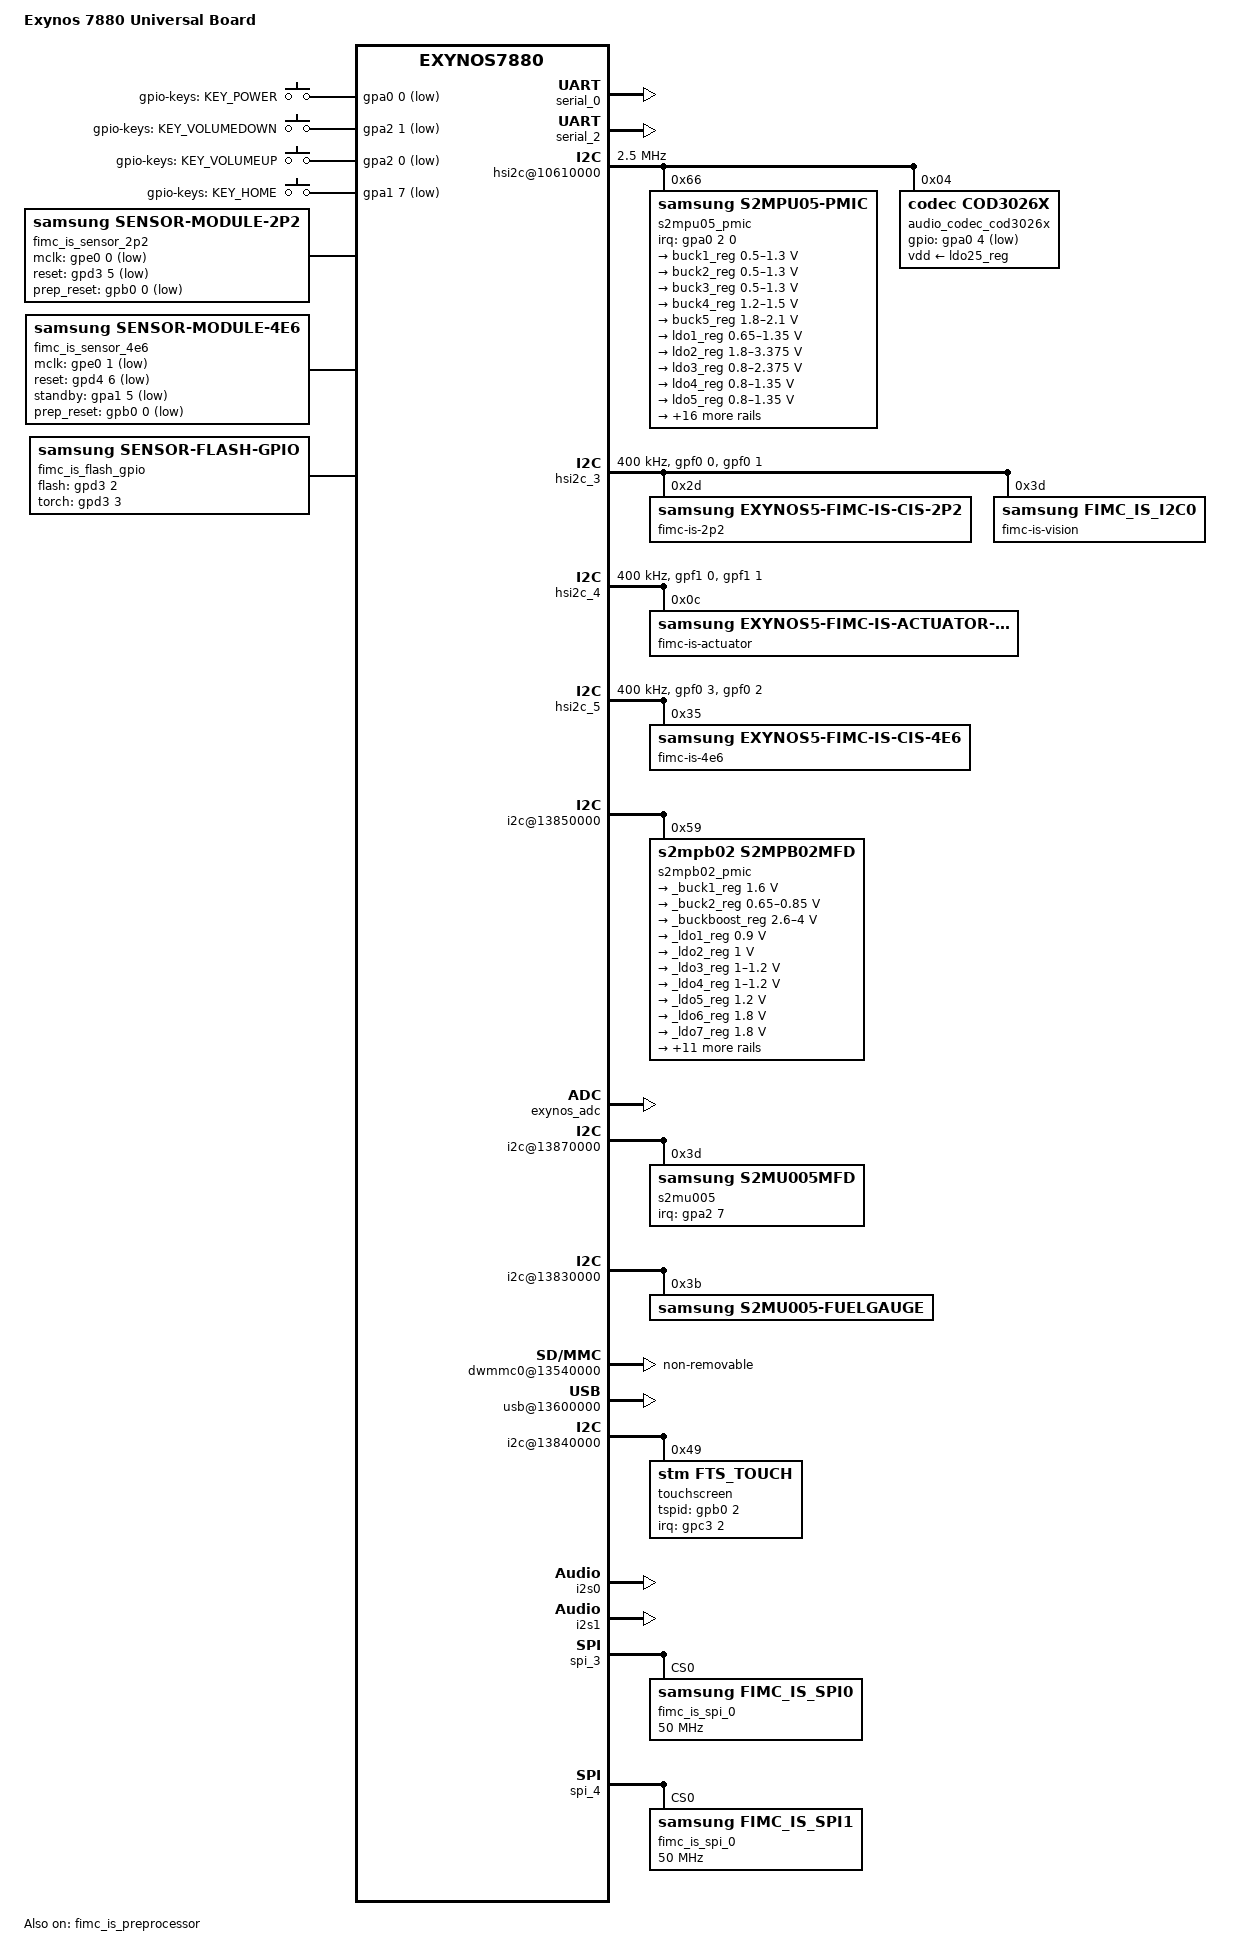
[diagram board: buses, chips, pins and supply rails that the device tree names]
/*
 * SAMSUNG Exynos7880 Universal board device tree source
 *
 * Copyright (c) 2015 Samsung Electronics Co., Ltd.
 *		http://www.samsung.com
 *
 * This program is free software; you can redistribute it and/or modify
 * it under the terms of the GNU General Public License version 2 as
 * published by the Free Software Foundation.
*/

/dts-v1/;
#include "exynos7880-rmem.dtsi"
#include "exynos7880.dtsi"
#include "modem-ss325ap-pdata.dtsi"

/ {
	model = "Exynos 7880 Universal Board";
	compatible = "samsung,exynos7880", "samsung,universal7880";

	memory@40000000 {
		device_type = "memory";
		reg = <0x0 0x40000000 0xC0000000>;
	};

	chosen {
		bootargs = "console=ram,115200 ess_setup=0x46000000 clk_ignore_unused androidboot.hardware=samsungexynos7880 firmware_class.path=/vendor/firmware reserve-fimc=0 androidboot.debug_level=0x4948";
		linux,initrd-start = <0x52000000>;
		linux,initrd-end = <0x521FFFFF>;
	};

	fixed-rate-clocks {
		oscclk {
			compatible = "samsung,exynos7880-oscclk";
			clock-frequency = <26000000>;
		};
	};

	serial_0: uart@13810000 {
		status = "okay";
	};

	serial_2: uart@13820000 {
		status = "okay";
	};

	gpio_keys {
		compatible = "gpio-keys";
		pinctrl-names = "default";
		pinctrl-0 = <&key_power &key_voldown &key_volup &key_home>;
		#address-cells = <1>;
		#size-cells = <0>;

		button@1 {
			label = "gpio-keys: KEY_POWER";
			interrupts = <0 0>;
			interrupt-parent = <&gpa0>;
			linux,code = <116>;
			gpios = <&gpa0 0 0xf>;
			gpio-key,wakeup = <1>;
		};
		button@2 {
			label = "gpio-keys: KEY_VOLUMEDOWN";
			interrupts = <1 0>;
			interrupt-parent = <&gpa2>;
			linux,code = <114>;
			gpios = <&gpa2 1 0xf>;
		};
		button@3 {
			label = "gpio-keys: KEY_VOLUMEUP";
			interrupts = <0 0>;
			interrupt-parent = <&gpa2>;
			linux,code = <115>;
			gpios = <&gpa2 0 0xf>;
		};
		button@4 {
			label = "gpio-keys: KEY_HOME";
			interrupts = <7 0 0>;
			interrupt-parent = <&gpa1>;
			linux,code = <172>;
			gpios = <&gpa1 7 0xf>;
			gpio-key,wakeup = <1>;
		};
	};

	pinctrl@139B0000 {
		/* Warm reset information from AP */
		pm_wrsti: pm-wrsti {
			samsung,pins = "gpd1-0";
			samsung,pin-con-pdn = <3>;
		};
	};

	pinctrl@139F0000 {
		pmic_irq: pmic-irq {
			samsung,pins = "gpa0-2";
			samsung,pin-pud = <3>;
			samsung,pin-drv = <3>;
		};

		cod3026_irq: cod3026-irq {
			samsung,pins = "gpa0-4";
			samsung,pin-pud = <3>;
			samsung,pin-drv = <3>;
		};
	};

	pinctrl@139B0000{
		sub_pmic_irq: sub-pmic-irq {
			samsung,pins = "gpd4-0";
			samsung,pin-function = <0xf>;
			samsung,pin-pud = <0>;
			samsung,pin-drv = <0>;
		};
	};


	hsi2c@10610000 {
		status = "okay";
		samsung,hs-mode;
		clock-frequency = <2500000>;
		samsung,hsi2c-batcher;

		s2mpu05_pmic@66 {
			compatible = "samsung,s2mpu05-pmic";
			reg = <0x66>;
			ten-bit-address;
			interrupts = <2 0 0>;
			interrupt-parent = <&gpa0>;
			pinctrl-names = "default";
			pinctrl-0 = <&pmic_irq &pm_wrsti>;
			g3d_en = <1>; /* 1 : enable , 0 : disable */
			buck3en_pin = "etc1-3";
			buck3en_addr = "139B0080.pinctrl";
			/* RTC: wtsr/smpl */
			wtsr_en = <1>; /* enable */
			smpl_en = <1>; /* enable */
			wtsr_timer_val = <3>;   /* 1000ms */
			smpl_timer_val = <4>;   /* 500ms */
			check_jigon = <0>; /* do not check jigon */
			/* RTC: If it's first boot, reset rtc to 1/1/2016 12:00:00(Fri) */
			init_time,sec = <0>;
			init_time,min = <0>;
			init_time,hour = <12>;
			init_time,mday = <1>;
			init_time,mon = <0>;
			init_time,year = <116>;
			init_time,wday = <5>;

			regulators {
				buck1_reg: BUCK1 {
					regulator-name = "BUCK1";
					regulator-min-microvolt = <500000>;
					regulator-max-microvolt = <1300000>;
					regulator-always-on;
					regulator-boot-on;
					regulator-ramp-delay = <12000>;
					regulator-initial-mode = <1>;
					regulator-expected-consumer = <2>;
				};

				buck2_reg: BUCK2 {
					regulator-name = "BUCK2";
					regulator-min-microvolt = <500000>;
					regulator-max-microvolt = <1300000>;
					regulator-always-on;
					regulator-boot-on;
					regulator-ramp-delay = <12000>;
					regulator-initial-mode = <3>;
					regulator-expected-consumer = <4>;
				};

				buck3_reg: BUCK3 {
					regulator-name = "vdd_g3d";
					regulator-min-microvolt = <500000>;
					regulator-max-microvolt = <1300000>;
					regulator-always-on;
					regulator-boot-on;
					regulator-ramp-delay = <12000>;
					regulator-initial-mode = <2>;		/* MIF_G3D */
				};

				buck4_reg: BUCK4 {
					regulator-name = "BUCK4";
					regulator-min-microvolt = <1200000>;
					regulator-max-microvolt = <1500000>;
					regulator-always-on;
					regulator-boot-on;
					regulator-ramp-delay = <12000>;
					regulator-initial-mode = <3>;
				};

				buck5_reg: BUCK5 {
					regulator-name = "BUCK5";
					regulator-min-microvolt = <1800000>;
					regulator-max-microvolt = <2100000>;
					regulator-always-on;
					regulator-boot-on;
					regulator-ramp-delay = <12000>;
					regulator-initial-mode = <3>;
				};

				ldo1_reg: LDO1 {
					regulator-name = "vdd_ldo1";
					regulator-min-microvolt = <650000>;
					regulator-max-microvolt = <1350000>;
					regulator-always-on;
					regulator-boot-on;
					regulator-ramp-delay = <12000>;
					regulator-initial-mode = <3>;
				};

				ldo2_reg: LDO2 {
					regulator-name = "vqmmc";
					regulator-min-microvolt = <1800000>;
					regulator-max-microvolt = <3375000>;
					regulator-boot-on;
					regulator-always-on;
					regulator-ramp-delay = <12000>;
					regulator-initial-mode = <1>;
				};

				ldo3_reg: LDO3 {
					regulator-name = "vdd_ldo3";
					regulator-min-microvolt = <800000>;
					regulator-max-microvolt = <2375000>;
					regulator-boot-on;
					regulator-always-on;
					regulator-ramp-delay = <12000>;
					regulator-initial-mode = <3>;
				};

				ldo4_reg: LDO4 {
					regulator-name = "vdd_ldo4";
					regulator-min-microvolt = <800000>;
					regulator-max-microvolt = <1350000>;
					regulator-boot-on;
					regulator-always-on;
					regulator-ramp-delay = <12000>;
					regulator-initial-mode = <2>;
				};

				ldo5_reg: LDO5 {
					regulator-name = "vdd_ldo5";
					regulator-min-microvolt = <800000>;
					regulator-max-microvolt = <1350000>;
					regulator-boot-on;
					regulator-always-on;
					regulator-ramp-delay = <12000>;
					regulator-initial-mode = <3>;
				};

				ldo6_reg: LDO6 {
					regulator-name = "vdd_ldo6";
					regulator-min-microvolt = <800000>;
					regulator-max-microvolt = <1350000>;
					regulator-boot-on;
					regulator-always-on;
					regulator-ramp-delay = <12000>;
					regulator-initial-mode = <2>;
				};

				ldo7_reg: LDO7 {
					regulator-name = "vdd_ldo7";
					regulator-min-microvolt = <800000>;
					regulator-max-microvolt = <2375000>;
					regulator-boot-on;
					regulator-always-on;
					regulator-ramp-delay = <12000>;
					regulator-initial-mode = <1>;
				};

				ldo8_reg: LDO8 {
					regulator-name = "vdd_ldo8";
					regulator-min-microvolt = <1800000>;
					regulator-max-microvolt = <3375000>;
					regulator-boot-on;
					regulator-ramp-delay = <12000>;
					regulator-initial-mode = <0>;
				};

				ldo9_reg: LDO9 {
					regulator-name = "vdd_ldo9";
					regulator-min-microvolt = <650000>;
					regulator-max-microvolt = <1350000>;
					regulator-always-on;
					regulator-ramp-delay = <12000>;
					regulator-initial-mode = <3>;
				};

				ldo10_reg: LDO10 {
					regulator-name = "vdd_ldo10";
					regulator-min-microvolt = <650000>;
					regulator-max-microvolt = <1350000>;
					regulator-always-on;
					regulator-ramp-delay = <12000>;
					regulator-initial-mode = <1>;
				};

				ldo25_reg: LDO25 {
					regulator-name = "vdd_ldo25";
					regulator-min-microvolt = <800000>;
					regulator-max-microvolt = <2375000>;
					regulator-always-on;
					regulator-boot-on;
					regulator-ramp-delay = <12000>;
					regulator-initial-mode = <1>;
				};

				ldo26_reg: LDO26 {
					regulator-name = "vdd_ldo26";
					regulator-min-microvolt = <1800000>;
					regulator-max-microvolt = <3375000>;
					regulator-ramp-delay = <12000>;
					regulator-always-on;
					regulator-initial-mode = <1>;
				};

				ldo27_reg: LDO27 {
					regulator-name = "vdd_ldo27";
					regulator-min-microvolt = <800000>;
					regulator-max-microvolt = <2375000>;
					regulator-ramp-delay = <12000>;
					regulator-always-on;
					regulator-initial-mode = <1>;
				};

				ldo28_reg: LDO28 {
					regulator-name = "vmmc";
					regulator-min-microvolt = <1800000>;
					regulator-max-microvolt = <3375000>;
					regulator-always-on;
					regulator-ramp-delay = <12000>;
					regulator-initial-mode = <1>;
				};

				ldo29_reg: LDO29 {
					regulator-name = "vdd_ldo29";
					regulator-min-microvolt = <1800000>;
					regulator-max-microvolt = <3375000>;
					regulator-always-on;
					regulator-ramp-delay = <12000>;
					regulator-initial-mode = <1>;
				};

				ldo30_reg: LDO30 {
					regulator-name = "tsp_io";
					regulator-min-microvolt = <1800000>;
					regulator-max-microvolt = <2375000>;
					regulator-boot-on;
					regulator-always-on;
					regulator-ramp-delay = <12000>;
					regulator-initial-mode = <3>;
				};

				ldo31_reg: LDO31 {
					regulator-name = "vdd_ldo31";
					regulator-min-microvolt = <2800000>;
					regulator-max-microvolt = <2800000>;
					regulator-boot-on;
					regulator-always-on;
					regulator-ramp-delay = <12000>;
					regulator-initial-mode = <1>;
				};

				ldo32_reg: LDO32 {
					regulator-name = "vdd_ldo32";
					regulator-min-microvolt = <1800000>;
					regulator-max-microvolt = <3375000>;
					regulator-always-on;
					regulator-ramp-delay = <12000>;
					regulator-initial-mode = <1>;
				};

				ldo33_reg: LDO33 {
					regulator-name = "vdd_ldo33";
					regulator-min-microvolt = <1800000>;
					regulator-max-microvolt = <3375000>;
					regulator-ramp-delay = <12000>;
					regulator-initial-mode = <1>;
				};

				ldo34_reg: LDO34 {
					regulator-name = "vdd_ldo34";
					regulator-min-microvolt = <1800000>;
					regulator-max-microvolt = <3375000>;
					regulator-always-on;
					regulator-ramp-delay = <12000>;
					regulator-initial-mode = <1>;
				};

				ldo35_reg: LDO35 {
					regulator-name = "vdd_ldo35";
					regulator-min-microvolt = <1800000>;
					regulator-max-microvolt = <3375000>;
					regulator-always-on;
					regulator-ramp-delay = <12000>;
					regulator-initial-mode = <1>;
				};
			};
		};

		audio_codec_cod3026x: cod3026x@04 {
			compatible = "codec,cod3026x";
			reg = <0x04>;
			ten-bit-address;
			vdd-supply = <&ldo25_reg>;
			pinctrl-names = "default";
			pinctrl-0 = <&cod3026_irq>;
			interrupt-parent = <&gpa0>;
			gpios = <&gpa0 4 0xf>;
			use-digital-mic-mode;
			mic-bias1-voltage = <3>;
			mic-bias2-voltage = <3>;
			mic-bias-ldo-voltage = <3>;
		};
	};

	hsi2c_3: hsi2c@138A0000 {
		 gpios = <&gpf0 0 0 &gpf0 1 0>;
		 status = "okay";
		 clock-frequency = <400000>;

		 pinctrl-names = "default";
		 pinctrl-0 = <&hs_i2c3_bus>;

		 fimc-is-2p2@5A {
			 compatible = "samsung,exynos5-fimc-is-cis-2p2";
			 reg = <0x2D>;
			 id = <0>; /* matching sensor id */
			 setfile = "setB";
		 };

		 fimc-is-vision@3d {
			compatible = "samsung,fimc_is_i2c0";
			reg = <0x3d>;
		 };
	 };

	hsi2c_4: hsi2c@138B0000 {
		 gpios = <&gpf1 0 0 &gpf1 1 0>;
		 status = "okay";
		 clock-frequency = <400000>;

		 pinctrl-names = "default";
		 pinctrl-0 = <&hs_i2c4_bus>;

		fimc-is-actuator@18 {
			compatible = "samsung,exynos5-fimc-is-actuator-ak7371";
			reg = <0x0C>;
			id = <0>; /* matching sensor id */
		};
	};

	hsi2c_5: hsi2c@138C0000 {
		 gpios = <&gpf0 3 0 &gpf0 2 0>;
		 status = "okay";
		 clock-frequency = <400000>;

		 pinctrl-names = "default";
		 pinctrl-0 = <&hs_i2c5_bus>;

		 fimc-is-4e6@6A {
			 compatible = "samsung,exynos5-fimc-is-cis-4e6";
			 reg = <0x35>;
			 id = <0>; /* matching sensor id */
			 setfile = "setB";
		 };
	 };

	i2c@13850000 {
		status = "okay";
		s2mpb02_pmic@59 {
			compatible = "s2mpb02,s2mpb02mfd";
			reg = <0x59>;

			s2mpb02,wakeup;
			pinctrl-names = "default";
			pinctrl-0 = <&sub_pmic_irq>;

			regulators {
				_buck1_reg: s2mpb02-buck1 {
					regulator-min-microvolt = <1600000>;
					regulator-max-microvolt = <1600000>;
					regulator-always-on;
					regulator-boot-on;
				};

				_buck2_reg: s2mpb02-buck2 {
					regulator-name = "VDDD_CORE_0.8V_COMP";
					regulator-min-microvolt = <650000>;
					regulator-max-microvolt = <850000>;
				};

				_buckboost_reg: s2mpb02-bb {
					regulator-min-microvolt = <2600000>;
					regulator-max-microvolt = <4000000>;
					regulator-always-on;
					regulator-boot-on;
				};

				_ldo1_reg: s2mpb02-ldo1 {
					regulator-name = "VDDD_NORET_0.9V_COMP";
					regulator-min-microvolt = <900000>;
					regulator-max-microvolt = <900000>;
				};

				_ldo2_reg: s2mpb02-ldo2 {
					regulator-name = "VDDD_CORE_1.0V_COMP";
					regulator-min-microvolt = <1000000>;
					regulator-max-microvolt = <1000000>;
				};

				_ldo3_reg: s2mpb02-ldo3 {
					regulator-name = "VDDD_1.2V_CAM";
					regulator-min-microvolt = <1000000>;
					regulator-max-microvolt = <1200000>;
				};

				_ldo4_reg: s2mpb02-ldo4 {
					regulator-name = "VDDD_RET_1.0V_COMP";
					regulator-min-microvolt = <1000000>;
					regulator-max-microvolt = <1200000>;
				};

				_ldo5_reg: s2mpb02-ldo5 {
					regulator-name = "VDDD_1.2V_VT";
					regulator-min-microvolt = <1200000>;
					regulator-max-microvolt = <1200000>;
				};

				_ldo6_reg: s2mpb02-ldo6 {
					regulator-name = "VDDIO_1.8V_VT";
					regulator-min-microvolt = <1800000>;
					regulator-max-microvolt = <1800000>;
				};

				_ldo7_reg: s2mpb02-ldo7 {
					regulator-name = "VDDIO_1.8V_CAM";
					regulator-min-microvolt = <1800000>;
					regulator-max-microvolt = <1800000>;
				};

				_ldo8_reg: s2mpb02-ldo8 {
					regulator-name = "VDDIO_1.8V_COMP";
					regulator-min-microvolt = <1800000>;
					regulator-max-microvolt = <1800000>;
				};

				_ldo9_reg: s2mpb02-ldo9 {
					regulator-name = "VDDA_1.8V_COMP";
					regulator-min-microvolt = <1800000>;
					regulator-max-microvolt = <1800000>;
				};

				_ldo10_reg: s2mpb02-ldo10 {
					regulator-min-microvolt = <1800000>;
					regulator-max-microvolt = <1800000>;
					regulator-always-on;
					regulator-boot-on;
				};

				_ldo11_reg: s2mpb02-ldo11 {
					regulator-name = "VDDA_2.9V_CAM";
					regulator-min-microvolt = <2800000>;
					regulator-max-microvolt = <2950000>;
				};

				_ldo12_reg: s2mpb02-ldo12 {
					regulator-name = "VDDAF_2.8V_CAM";
					regulator-min-microvolt = <2800000>;
					regulator-max-microvolt = <2800000>;
				};

				_ldo13_reg: s2mpb02-ldo13 {
					regulator-name = "VDDA_2.9V_VT";
					regulator-min-microvolt = <2900000>;
					regulator-max-microvolt = <2900000>;
				};

				_ldo14_reg: s2mpb02-ldo14 {
					regulator-name = "OIS_VM_2.8V";
					regulator-min-microvolt = <2800000>;
					regulator-max-microvolt = <2800000>;
				};

				_ldo15_reg: s2mpb02-ldo15 {
					regulator-name = "OIS_VDD_2.8V";
					regulator-min-microvolt = <2800000>;
					regulator-max-microvolt = <2800000>;
				};

				_ldo16_reg: s2mpb02-ldo16 {
					regulator-min-microvolt = <3000000>;
					regulator-max-microvolt = <3000000>;
					regulator-always-on;
					regulator-boot-on;
				};

				_ldo17_reg: s2mpb02-ldo17 {
					regulator-min-microvolt = <600000>;
					regulator-max-microvolt = <3775000>;
					regulator-always-on;
					regulator-boot-on;
				};

				_ldo18_reg: s2mpb02-ldo18 {
					regulator-min-microvolt = <600000>;
					regulator-max-microvolt = <3775000>;
					regulator-always-on;
					regulator-boot-on;
				};
			};

			torch {
				torch1-gpio = "gpc0-3";
				flash1-gpio = "gpc0-2";

				status = "okay";

				leds1 {
					ledname = "leds-sec1";
					id = <0>;
					brightness = <0xC>;
					timeout = <0x3>;
				};

				leds2 {
					ledname = "torch-sec1";
					id = <1>;
					brightness = <0xC>;
					timeout = <0xF>;
				};
			};
		};
	};

	pinctrl@139B0000 {
		if_pmic_rstb: if-pmic-rstb {
			samsung,pins = "gpd2-1";
			samsung,pin-pud = <3>;
			samsung,pin-con-pdn = <3>;
			samsung,pin-pud-pdn = <3>;
		};
	};

	exynos_adc: adc@10650000 {
		status = "okay";
	};

	i2c@13870000 {
		status = "okay";
		s2mu005@3d {
			compatible = "samsung,s2mu005mfd";
			reg = <0x3d>;
			pinctrl-names = "default";
			pinctrl-0 = <&if_irq &if_pmic_rstb>;
			s2mu005,irq-gpio = <&gpa2 7 0>;
			s2mu005,wakeup;

			leds {
				flash-gpio = <&gpc0 2 0>;
				torch-gpio = <&gpc0 3 0>;

				flash_current = <1000>;
				preflash_current = <175>;
				movie_current = <175>;
				torch_current = <75>;
				factory_current = <250>;

				status = "okay";
				s2mu005-leds1 {
					ledname = "leds-sec1";
					id = <0>;
					timeout = <15>;
				};

				s2mu005-leds2 {
					ledname = "leds-sec2";
					id = <1>;
					timeout = <15>;
				};
			};

			muic {
				status = "okay";
				muic,uart_addr = "139c0000.pinctrl";
				muic,uart_rxd = "gpb1-0";
				muic,uart_txd = "gpb1-1";
			};
		};
	};

	s2mu005-charger {
		status = "disable";
		compatible = "samsung,s2mu005-charger";
		battery,is_1MHz_switching = <1>;
		battery,is_fixed_switching = <1>;
		battery,chg_gpio_en = <0>;
		battery,chg_polarity_en = <0>;
		battery,chg_gpio_status = <0>;
		battery,chg_polarity_status = <0>;
		battery,chg_float_voltage = <4390>;
	};

	s2mu005-fuelgauge@35 {
		fuelgauge,fuel_alert_soc = <1>;
		fuelgauge,capacity_max = <1000>;
		fuelgauge,capacity_max_margin = <30>;
		fuelgauge,capacity_min = <0>;
		fuelgauge,capacity_calculation_type = <28>;
		fuelgauge,repeated_fuelalert;
		fuelgauge,type_str = "SDI";
	};

	i2c@13830000 {
		status = "okay";
		s2mu005-fuelgauge@3B {
			compatible = "samsung,s2mu005-fuelgauge";
			reg = <0x3B>;
			pinctrl-names = "default";
			pinctrl-0 = <&fuel_irq>;
			fuelgauge,fuel_int = <&gpa0 3 0>;
			fuelgauge,fuel_alert_soc = <1>;
			fuelgauge,capacity_max = <1000>;
			fuelgauge,capacity_max_margin = <70>;
			fuelgauge,capacity_min = <0>;
			fuelgauge,capacity_calculation_type = <28>;
			fuelgauge,type_str = "SDI";
			fuelgauge,model_type = <1>;
		};
	};

	battery {
		battery,charger_name = "sec-charger";
		battery,fuelgauge_name = "sec-fuelgauge";
		battery,chg_eoc_dualpath = <1>;

		battery,input_current_limit = <1800 0 0 1800 460 900 1000 460 1000 0 820 1900 1000 0 0 400 700 1300 300 1000 1500 0 1667 1000 80 1800>;
		battery,fast_charging_current = <2100 0 0 1300 460 1200 1000 460 1200 0 1000 1600 1000 0 0 400 700 1300 300 1000 1500 0 3150 1000 80 1800>;
		battery,full_check_current_1st = <180 0 0 180 180 250 250 250 250 0 250 250 250 0 0 350 350 350 350 350 350 0 350 350 0 350>;
		battery,full_check_current_2nd = <3000 0 0 3000 3000 3000 3000 3000 3000 0 3000 3000 0 0 0 3000 3000 3000 3000 3000 3000 0 3000 3000 3000 3000>;
		battery,input_current_limit_new = <1800 0 0 1500 460 900 1000 460 1000 0 820 1900 1000 0 0 400 700 1300 300 1000 1500 0 1667 1000 80 1800>;
		battery,fast_charging_current_new = <2100 0 0 1700 460 1200 1000 460 1200 0 1000 1600 1000 0 0 400 700 1300 300 1000 1500 0 3150 1000 80 1800>;
		battery,recharge_condition_vcell = <4250>;
	};

	pinctrl@139F0000 {
		key_power: key-power {
			samsung,pins = "gpa0-0";
			samsung,pin-function = <0xf>;
			samsung,pin-pud = <0>;
			samsung,pin-drv = <0>;
		};

		key_voldown: key-voldown {
			samsung,pins = "gpa2-1";
			samsung,pin-function = <0xf>;
			samsung,pin-pud = <0>;
			samsung,pin-drv = <0>;
		};

		key_volup: key-volup {
			samsung,pins = "gpa2-0";
			samsung,pin-function = <0xf>;
			samsung,pin-pud = <0>;
			samsung,pin-drv = <0>;
		};

		key_home: key-home {
			samsung,pins = "gpa1-7";
			samsung,pin-function = <0xf>;
			samsung,pin-pud = <0>;
			samsung,pin-drv = <0>;
		};

		if_irq: if-irq {
			samsung,pins = "gpa2-7";
			samsung,pin-pud = <0>;
			samsung,pin-drv = <0>;
		};

		fuel_irq: fuel-irq {
			samsung,pins = "gpa0-3";
			samsung,pin-pud = <0>;
			samsung,pin-drv = <0>;
		};
	};

	dwmmc0@13540000 {
		status = "okay";
		num-slots = <1>;
		broken-cd;
		use-smu;
		fixed_voltage;
		supports-highspeed;
		/*clock-gate;*/
		mmc-ddr-1_8v;
		mmc-hs200-1_8v;
		mmc-hs400-1_8v;
		supports-8bit;
		supports-cmd23;
		supports-erase;
		enable-ulp-mode;
		supports-hs400-enhanced-strobe;
		use-fine-tuning;
		bypass-for-allpass;
		card-init-hwacg-ctrl;
		fifo-depth = <0x40>;
		non-removable;
		desc-size = <4>;
		card-detect-delay = <200>;
		data-timeout = <200>;
		clock-frequency = <800000000>;
		samsung,dw-mshc-ciu-div = <3>;
		samsung,dw-mshc-txdt-crc-timer-fastlimit = <0x34>;
		samsung,dw-mshc-txdt-crc-timer-initval = <0x38>;
		samsung,dw-mshc-ddr200-delay-line = <0x50>;
		samsung,dw-mshc-sdr-timing = <3 0 4 0>;
		samsung,dw-mshc-ddr-timing = <3 0 4 2>;
		samsung,dw-mshc-hs200-timing = <3 0 3 0>;
		samsung,dw-mshc-ddr200-timing = <1 0 2 0>;
		samsung,dw-mshc-ddr200-ulp-timing = <3 0 4 0>;
		num-ref-clks = <10>;
		ciu_clkin = <25 50 50 100 200 100 50 200 200 200>;

		/* Swapping clock drive strength */
                clk-drive-number = <6>;
                pinctrl-names = "default",
                        "fast-slew-rate-1x",
                        "fast-slew-rate-2x",
                        "fast-slew-rate-3x",
                        "fast-slew-rate-4x",
                        "fast-slew-rate-5x",
                        "fast-slew-rate-6x";
                pinctrl-0 = <&sd0_clk &sd0_cmd &sd0_rdqs &sd0_bus1 &sd0_bus4 &sd0_bus8>;
                pinctrl-1 = <&sd0_clk_fast_slew_rate_1x>;
                pinctrl-2 = <&sd0_clk_fast_slew_rate_2x>;
                pinctrl-3 = <&sd0_clk_fast_slew_rate_3x>;
                pinctrl-4 = <&sd0_clk_fast_slew_rate_4x>;
                pinctrl-5 = <&sd0_clk_fast_slew_rate_5x>;
                pinctrl-6 = <&sd0_clk_fast_slew_rate_6x>;

		slot@0 {
			reg = <0>;
			bus-width = <8>;
		};
	};

	decon_f@0x14830000 {
		gpios = <&gpd2 2 0xf>; /* DISP_TE */
		te_eint {
			/* NWEINT_GPD2_PEND(GPD2_2), NWEINT_GPD2_MASK(GPD2_2) */
			reg = <0x0 0x139B0A24 0x4>, <0x0 0x139B0924 0x4>;
		};
	};

	dsim_0: dsim@0x14800000 {
		lcd_info = <&s6e3ha2>;
		/* lcd reset, power */
		gpios = <&gpd3 4 0x1>, <&gpb0 1 0x1>;
	};

	dsim_1: dsim@0x14810000 {
		lcd_info = <&s6e3ha2>;
	};

	s6e3ha2: s6e3ha2_wqhd {
		mode = <2>;	/* 2: MIPI command mode */
		resolution = <720 2560>;
		size = <70 121>;
		timing,refresh = <60>;
		timing,h-porch = <2 2 2>;
		timing,v-porch = <15 3 1>;
		timing,dsi-hs-clk = <1100>;
		timing,pms = <3 127 0>;
		timing,dsi-escape-clk = <20>;
		mic_en = <0>;		/* 0: Disable, 1: Enable */
		mic_ratio = <0>;	/* 0: 1/2 mic, 1: 1/3 mic */
		mic_ver = <2>;		/* 0: mic v1.1, 1: v1.2, 2: v2.0 */
		type_of_ddi = <0>;	/* 0: Samsung Mobile */
		dsc_en = <0>;		/* 0: Disable, 1: Enable */
		dsc_cnt = <1>;		/* used DSC count */
		dsc_slice_num = <2>;	/* count of dsc slice */
	};

	tmuctrl_0: tmuctrl_CPUCL0@10130000 {
		status = "okay";
		max_trigger_level = <8>;
		non_hw_trigger_levels = <7>;

		/* Throttling Level */
		trigger_levels_0 = <76>;
		trigger_levels_1 = <81>;
		trigger_levels_2 = <86>;
		trigger_levels_3 = <91>;
		trigger_levels_4 = <96>;
		trigger_levels_5 = <101>;
		trigger_levels_6 = <111>;
		trigger_levels_7 = <115>;

		trigger_enable_0 = <ENABLE>;
		trigger_enable_1 = <ENABLE>;
		trigger_enable_2 = <ENABLE>;
		trigger_enable_3 = <ENABLE>;
		trigger_enable_4 = <ENABLE>;
		trigger_enable_5 = <ENABLE>;
		trigger_enable_6 = <ENABLE>;
		trigger_enable_7 = <ENABLE>;

		trigger_type_0 = <THROTTLE_ACTIVE>;
		trigger_type_1 = <THROTTLE_ACTIVE>;
		trigger_type_2 = <THROTTLE_ACTIVE>;
		trigger_type_3 = <THROTTLE_ACTIVE>;
		trigger_type_4 = <THROTTLE_ACTIVE>;
		trigger_type_5 = <THROTTLE_ACTIVE>;
		trigger_type_6 = <THROTTLE_ACTIVE>;
		trigger_type_7 = <HW_TRIP>;

		freq_tab_count = <5>;

		freq_clip_max_0 = <1586000>;
		freq_clip_max_1 = <1274000>;
		freq_clip_max_2 = <1274000>;
		freq_clip_max_3 = <546000>;
		freq_clip_max_4 = <546000>;

		cooling_level_0 = <76>;
		cooling_level_1 = <81>;
		cooling_level_2 = <86>;
		cooling_level_3 = <91>;
		cooling_level_4 = <96>;
	};

	tmuctrl_1: tmuctrl_CPUCL1@10130000 {
		status = "okay";
		max_trigger_level = <8>;
		non_hw_trigger_levels = <7>;

		/* Throttling Level */
		trigger_levels_0 = <76>;
		trigger_levels_1 = <81>;
		trigger_levels_2 = <86>;
		trigger_levels_3 = <91>;
		trigger_levels_4 = <96>;
		trigger_levels_5 = <101>;
		trigger_levels_6 = <111>;
		trigger_levels_7 = <115>;

		trigger_enable_0 = <ENABLE>;
		trigger_enable_1 = <ENABLE>;
		trigger_enable_2 = <ENABLE>;
		trigger_enable_3 = <ENABLE>;
		trigger_enable_4 = <ENABLE>;
		trigger_enable_5 = <ENABLE>;
		trigger_enable_6 = <ENABLE>;
		trigger_enable_7 = <ENABLE>;

		trigger_type_0 = <THROTTLE_ACTIVE>;
		trigger_type_1 = <THROTTLE_ACTIVE>;
		trigger_type_2 = <THROTTLE_ACTIVE>;
		trigger_type_3 = <THROTTLE_ACTIVE>;
		trigger_type_4 = <THROTTLE_ACTIVE>;
		trigger_type_5 = <THROTTLE_ACTIVE>;
		trigger_type_6 = <THROTTLE_ACTIVE>;
		trigger_type_7 = <HW_TRIP>;

		freq_tab_count = <5>;

		freq_clip_max_0 = <1586000>;
		freq_clip_max_1 = <1274000>;
		freq_clip_max_2 = <1274000>;
		freq_clip_max_3 = <546000>;
		freq_clip_max_4 = <546000>;

		cooling_level_0 = <76>;
		cooling_level_1 = <81>;
		cooling_level_2 = <86>;
		cooling_level_3 = <91>;
		cooling_level_4 = <96>;
	};

	tmuctrl_2: tmuctrl_G3D@10130000 {
		status = "okay";
		max_trigger_level = <8>;
		non_hw_trigger_levels = <7>;

		/* Throttling Level */
		trigger_levels_0 = <76>;
		trigger_levels_1 = <81>;
		trigger_levels_2 = <86>;
		trigger_levels_3 = <91>;
		trigger_levels_4 = <96>;
		trigger_levels_5 = <101>;
		trigger_levels_6 = <111>;
		trigger_levels_7 = <115>;

		trigger_enable_0 = <ENABLE>;
		trigger_enable_1 = <ENABLE>;
		trigger_enable_2 = <ENABLE>;
		trigger_enable_3 = <ENABLE>;
		trigger_enable_4 = <ENABLE>;
		trigger_enable_5 = <ENABLE>;
		trigger_enable_6 = <ENABLE>;
		trigger_enable_7 = <ENABLE>;

		trigger_type_0 = <THROTTLE_ACTIVE>;
		trigger_type_1 = <THROTTLE_ACTIVE>;
		trigger_type_2 = <THROTTLE_ACTIVE>;
		trigger_type_3 = <THROTTLE_ACTIVE>;
		trigger_type_4 = <THROTTLE_ACTIVE>;
		trigger_type_5 = <THROTTLE_ACTIVE>;
		trigger_type_6 = <THROTTLE_ACTIVE>;
		trigger_type_7 = <HW_TRIP>;

		freq_tab_count = <6>;

		freq_clip_max_0 = <1246000>;
		freq_clip_max_1 = <1100000>;
		freq_clip_max_2 = <962000>;
		freq_clip_max_3 = <728000>;
		freq_clip_max_4 = <350000>;
		freq_clip_max_5 = <350000>;

		cooling_level_0 = <76>;
		cooling_level_1 = <81>;
		cooling_level_2 = <86>;
		cooling_level_3 = <91>;
		cooling_level_4 = <96>;
		cooling_level_5 = <101>;

		/* gpu cooling related table */
		gpu_idx_num = <6>;
		/* flags, driver_data(index), frequency */
		gpu_cooling_table = < 0 0 1246000
				      0 1 1100000
				      0 2 962000
				      0 3 728000
				      0 4 350000
				      0 5 TABLE_END>;
	};

	usb@13600000 {
		vdd33-supply = <&ldo8_reg>;
		vdd10-supply = <&ldo1_reg>;
		dwc3-vbus-supply = <&ldo3_reg>;
		status = "okay";

		dwc3 {
			maximum-speed = "high-speed";
			dr_mode = "otg";
			is_not_vbus_pad;
		};
	};

	usbphy@135c0000 {
		status = "okay";
	};

	usb_notifier {
		compatible = "samsung,usb-notifier";
		udc = <&udc>;
	};

	pinctrl@139B0000 {
		tsp_1p8_en: tsp-1p8-en {
			samsung,pins = "gpb0-2";
			samsung,pin-function = <0x1>;
			samsung,pin-pud = <3>;
			samsung,pin-drv = <0>;
			samsung,pin-val = <1>;
		};

		fimc_is_flash_is: fimc-is-flash-is {
			samsung,pins = "gpd3-2", "gpd3-3";
			samsung,pin-function = <2>;
			samsung,pin-pud = <1>;
			samsung,pin-drv = <0>;
		};
	};

	pinctrl@139D0000 {
		attn_irq: attn-irq {
			samsung,pins = "gpc3-2";
			samsung,pin-function = <0xf>;
			samsung,pin-pud = <0>;
			samsung,pin-drv = <0>;
		};
		attn_input: attn-input {
			samsung,pins = "gpc3-2";
			samsung,pin-function = <0>;
			samsung,pin-pud = <1>;
			samsung,pin-drv = <0>;
		};
	};

	i2c@13840000 {
		status = "okay";
		samsung,i2c-max-bus-freq = <400000>;
		touchscreen@49 {
			
			compatible = "stm,fts_touch";
			reg = <0x49>;
			pinctrl-names = "on_state", "off_state";
			pinctrl-0 = <&attn_irq &tsp_1p8_en>;
			pinctrl-1 = <&attn_input>;
			stm,tspid_gpio = <&gpb0 2 0>;
			stm,irq_gpio = <&gpc3 2 0>;
			stm,irq_type = <8200>;
			stm,max_coords = <1439 2559>;	/* x y */
			stm,regulator_dvdd = "vdd_ldo32";
			stm,regulator_avdd = "vdd_ldo34";
			stm,project_name = "joon", "smdk7880";
			stm,firmware_name = "tsp_stm/stm_v5583.fw";
		};
	};

	pinctrl@139C0000 {
		nfc_en: gpio-en {
			samsung,pins = "gpc2-2";
			samsung,pin-function = <0x1>;
			samsung,pin-pud = <0>;
			samsung,pin-drv = <0>;
			samsung,pin-con-pdn = <3>;
			samsung,pin-val = <1>;
		};
	};

	/* modem_interface */
	mif_pdata {
		reg = <0 0x67FFF000 0x1000>, <0 0x10000 0x14>;
		/* Set NFC_PD to enable USIM */
		pinctrl-names = "default";
		pinctrl-0 = <&nfc_en>;
	};

	s1402x: s1402x@14880000 {
		pinctrl-names = "default", "idle", "bt-idle";
		pinctrl-0 = <&i2s_pmic_bus
				&i2s_amp_bus>;
		pinctrl-1 = <&i2s_pmic_bus_idle
				&i2s_amp_bus_idle> ;
		pinctrl-2 = <&i2s_pmic_bus
                                &i2s_amp_bus>;
		bck-mcko-mode;
		status = "okay";
	};

	i2s0: i2s@148A0000 {
		status = "okay";
	};

	i2s1: i2s@148B0000 {
		status = "okay";
	};

	audio_cp_dummy: cp_dummy {
			compatible = "samsung,cp_dummy";
			status = "okay";
	};

	audio_fm_dummy: fm_dummy {
			compatible = "samsung,fm_dummy";
			status = "okay";
	};

	audio_bt_dummy: bt_dummy {
			compatible = "samsung,bt_dummy";
			status = "okay";
	};

	audio_codec_dummy: dummy-codec {
			compatible = "samsung,dummy-codec";
			status = "okay";
	};

	sound {
		compatible = "samsung,universal7880-cod3026x";
		samsung,audio-cpu = <&i2s0	/* primary */
			&i2s0			 /* secondary */
			&audio_cp_dummy
			&audio_bt_dummy
			&audio_fm_dummy
			&i2s1			/*AMP for AP */
			&audio_cp_dummy>;	/*AMP for CP */
		samsung,audio-codec = <&audio_codec_cod3026x
			&audio_codec_cod3026x
			&audio_codec_cod3026x
			&audio_codec_dummy
			&audio_codec_cod3026x
			&audio_codec_dummy
			&audio_codec_dummy>;

		samsung,auxdev = <&s1402x>;
		status = "okay";
	};

	spi_3: spi@13900000 {
		#address-cells = <1>;
		#size-cells = <0>;
		pinctrl-names = "default";
		pinctrl-0 = <&spi3_bus>;
		samsung,spi-fifosize = <64>;
		status = "okay";

		num-cs = <1>;

		fimc_is_spi_0@0 {
			compatible = "samsung,fimc_is_spi0";
			spi-max-frequency = <50000000>;
			reg = <0x0>;
			pinctrl-names = "ssn_out", "ssn_fn";
			pinctrl-0 = <&spi3_cs_0>;
			pinctrl-1 = <&spi3_cs_0_fn>;

			controller-data {
				cs-gpio = <&gpf3 1 0>;
				samsung,spi-feedback-delay = <1>;
			};
		};
	};

	spi_4: spi@13910000 {
		#address-cells = <1>;
		#size-cells = <0>;
		pinctrl-names = "default";
		pinctrl-0 = <&spi4_bus>;
		samsung,spi-fifosize = <64>;
		status = "okay";

		num-cs = <1>;

		fimc_is_spi_0@0 {
			compatible = "samsung,fimc_is_spi1";
			spi-max-frequency = <50000000>;
			reg = <0x0>;
			pinctrl-names = "ssn_out", "ssn_fn";
			pinctrl-0 = <&spi4_cs_0>;
			pinctrl-1 = <&spi4_cs_0_fn>;

			controller-data {
				cs-gpio = <&gpf4 1 0>;
				samsung,spi-feedback-delay = <1>;
			};
		};
	};

	/* preprocessor driver */
	fimc_is_preprocessor: fimc_is_preprocessor@14420000 {
		compatible = "samsung,exynos5-fimc-is-preprocessor";
		samsung,power-domain = <&pd_isp>;

		clock-names = "hsi2c_frontcam",
			"hsi2c_maincam",
			"hsi2c_depthcam",
			"hsi2c_frontsensor",
			"hsi2c_rearaf",
			"hsi2c_rearsensor",

			"spi_rearfrom",
			"spi_frontfrom",

			"sclk_spi_frontfrom",
			"sclk_spi_rearfrom",

			"isp_sensor0_sclk",
			"isp_sensor1_sclk",
			"isp_sensor2_sclk";

		clocks = <&clock 130>,
		       <&clock 131>,
		       <&clock 132>,
		       <&clock 133>,
		       <&clock 134>,
		       <&clock 135>,

		       <&clock 193>,
		       <&clock 194>,

		       <&clock 630>,
		       <&clock 631>,

		       <&clock 640>,
		       <&clock 641>,
		       <&clock 642>;

		scenario = <0>;	/* Normal, Vision, OIS etc */
		id = <0>; /* bns_id */
		mclk_ch = <2>;
		pinctrl_name = "139B0000.pinctrl";
		int_pin_name = "gpa1-2";
		status = "okay";
	};

	fimc_is_device_companion0@ {
		compatible = "samsung,exynos5-fimc-is-device-companion0";
		id = <0>;
		position = <0>;
	};

	fimc_is_device_companion1@ {
		compatible = "samsung,exynos5-fimc-is-device-companion1";
		id = <0>;
		position = <1>;
	};

	fimc_is_sensor_2p2: fimc-is_sensor_2p2@5A {
		compatible = "samsung,sensor-module-2p2";

		pinctrl-names = "pin0", "pin1", "pin2";
		pinctrl-0 = <>;
		pinctrl-1 = <&fimc_is_flash_is &fimc_is_mclk0_in &fimc_is_mclk2_in>;
		pinctrl-2 = <&fimc_is_flash_is &fimc_is_mclk0_fn &fimc_is_mclk2_fn>;

		position = <0>;	/* rear:0. front:1 */
		id = <0>; /* bns_id */
		mclk_ch = <0>;
		sensor_i2c_ch = <0>; /* i2c 0 */
		sensor_i2c_addr = <0x5A>;

		gpio_mclk = <&gpe0 0 0x1>;
		gpio_reset = <&gpd3 5 0x1>; /* sensor reset */
		gpio_prep_reset = <&gpb0 0 0x1>; /* preprocessor reset */
		status = "okay";

		af {
			product_name = <12>; /* ak7348 */
			i2c_addr = <0x18>;
			i2c_ch = <1>; /* i2c 2 */
		};

		flash {
			product_name = <11>; /* FLASH_GPIO */
			flash_first_gpio = <2>; /* DICO not use first, second gpio value */
			flash_second_gpio = <3>;
		};

		preprocessor {
			product_name = <2>; /* 73c2 */
			spi_channel = <1>;
			i2c_addr = <0x7a>;
			i2c_ch = <0>; /* i2c 0*/
			dma_ch = <2>; /* dma vc2*/
		};
	};

	fimc_is_sensor_4e6: fimc-is_sensor_4e6@6A {
		compatible = "samsung,sensor-module-4e6";

		pinctrl-names = "pin0", "pin1", "pin2";
		pinctrl-0 = <>;
		pinctrl-1 = <&fimc_is_mclk1_in &fimc_is_mclk2_in>;
		pinctrl-2 = <&fimc_is_mclk1_fn &fimc_is_mclk2_fn>;

		position = <1>;	/* Rear:0. Front:1 */
		id = <0>; /* sensor node id */
		mclk_ch = <1>;
		sensor_i2c_ch = <1>;
		sensor_i2c_addr = <0x6A>;

		gpio_mclk = <&gpe0 1 0x1>;
		gpio_reset = <&gpd4 6 0x1>;
		gpio_standby = <&gpa1 5 0x1>;
		gpio_prep_reset = <&gpb0 0 0x1>; /* preprocessor reset */
		status = "okay";

		preprocessor {
			product_name = <2>; /* 73c2 */
			spi_channel = <1>;
			i2c_addr = <0x7a>;
			i2c_ch = <0>; /* i2c 0*/
			dma_ch = <2>; /* dma vc2*/
		};


	};

	dsim_0: dsim@0x14800000 {
		/* lcd reset, power */
		gpios = <&gpd3 4 0x1>, <&gpb0 1 0x1>;
	};
	tmuctrl_2: tmuctrl_G3D@10130000 {
		/* flags, driver_data(index), frequency */
		gpu_cooling_table = < 0 0 1246000
				      0 1 1100000
				      0 2 962000
				      0 3 728000
				      0 4 350000
				      0 5 TABLE_END>;
	};				  
	fimc_is_flash_gpio: fimc-is-flash_gpio@0 {
		compatible = "samsung,sensor-flash-gpio";
		id = <0>; /* matching sensor id */
		status = "okay";

		flash-gpio = <&gpd3 2 0>;
		torch-gpio = <&gpd3 3 0>;
	};

	#define SENSOR_SCENARIO_NORMAL		0
	#define SENSOR_SCENARIO_VISION		1
	#define SENSOR_SCENARIO_EXTERNAL	2
	#define SENSOR_SCENARIO_OIS_FACTORY	3
	#define SENSOR_SCENARIO_VIRTUAL		9
	#define FLITE_ID_NOTHING 100

	fimc_is_sensor0: fimc_is_sensor@14420000 {
		scenario = <SENSOR_SCENARIO_NORMAL>;	/* Normal, Vision, OIS etc */
		id = <0>;
		csi_ch = <0>;
		flite_ch = <0>;
		is_bns = <1>;
		status = "okay";
	};

	fimc_is_sensor1: fimc_is_sensor@14460000 {
		scenario = <SENSOR_SCENARIO_NORMAL>;	/* Normal, Vision, OIS etc */
		id = <1>;
		csi_ch = <1>;
		flite_ch = <0>;
		is_bns = <1>;
		status = "okay";
	};

	fimc_is@14370000 {
		vender {
			rear_sensor_id = <10>;
			front_sensor_id = <21>;
			use_module_check;
			check_sensor_vendor;
			skip_cal_loading;
		};

		fimc_is_dvfs {
			#define DVFS_INT_L0 534000
			#define DVFS_INT_L1 400000
			#define DVFS_INT_L2 267000
			#define DVFS_INT_L3 134000

			#define DVFS_CAM_L0 534000
			#define DVFS_CAM_L1 534000
			#define DVFS_CAM_L2 400000
			#define DVFS_CAM_L3 267000
			#define DVFS_CAM_L4 222000

			#define DVFS_MIF_L0 1794000
			#define DVFS_MIF_L1 1716000
			#define DVFS_MIF_L2 1539000
			#define DVFS_MIF_L3 1352000
			#define DVFS_MIF_L4 1144000
			#define DVFS_MIF_L5 1014000
			#define DVFS_MIF_L6 845000
			#define DVFS_MIF_L7 676000
			#define DVFS_MIF_L8 546000
			#define DVFS_MIF_L9 421000
			#define DVFS_MIF_L10 286000

			table0 {
				desc = "default Max version";

				default_int = <0>;
				default_cam = <DVFS_CAM_L0>;
				default_mif = <DVFS_MIF_L0>;
				default_i2c = <0>;

				front_preview_int = <0>;
				front_preview_cam = <DVFS_CAM_L1>;
				front_preview_mif = <DVFS_MIF_L6>;
				front_preview_i2c = <0>;

				front_capture_int = <0>;
				front_capture_cam = <DVFS_CAM_L1>;
				front_capture_mif = <DVFS_MIF_L2>;
				front_capture_i2c = <0>;

				front_video_int = <0>;
				front_video_cam = <DVFS_CAM_L1>;
				front_video_mif = <DVFS_MIF_L6>;
				front_video_i2c = <0>;

				front_video_whd_int = <0>;
				front_video_whd_cam = <DVFS_CAM_L1>;
				front_video_whd_mif = <DVFS_MIF_L6>;
				front_video_whd_i2c = <0>;

				front_video_capture_int = <0>;
				front_video_capture_cam = <DVFS_CAM_L1>;
				front_video_capture_mif = <DVFS_MIF_L6>;
				front_video_capture_i2c = <0>;

				front_video_whd_capture_int = <0>;
				front_video_whd_capture_cam = <DVFS_CAM_L1>;
				front_video_whd_capture_mif = <DVFS_MIF_L6>;
				front_video_whd_capture_i2c = <0>;

				front_vt1_int = <0>;
				front_vt1_cam = <DVFS_CAM_L1>;
				front_vt1_mif = <DVFS_MIF_L6>;
				front_vt1_i2c = <0>;

				front_vt2_int = <0>;
				front_vt2_cam = <DVFS_CAM_L1>;
				front_vt2_mif = <DVFS_MIF_L6>;
				front_vt2_i2c = <0>;

				front_companion_preview_int = <0>;
				front_companion_preview_cam = <DVFS_CAM_L0>;
				front_companion_preview_mif = <DVFS_MIF_L0>;
				front_companion_preview_i2c = <0>;

				front_companion_capture_int = <0>;
				front_companion_capture_cam = <DVFS_CAM_L0>;
				front_companion_capture_mif = <DVFS_MIF_L0>;
				front_companion_capture_i2c = <0>;

				front_companion_video_int = <0>;
				front_companion_video_cam = <DVFS_CAM_L0>;
				front_companion_video_mif = <DVFS_MIF_L0>;
				front_companion_video_i2c = <0>;

				front_companion_video_whd_int = <0>;
				front_companion_video_whd_cam = <DVFS_CAM_L0>;
				front_companion_video_whd_mif = <DVFS_MIF_L0>;
				front_companion_video_whd_i2c = <0>;

				front_companion_video_capture_int = <0>;
				front_companion_video_capture_cam = <DVFS_CAM_L0>;
				front_companion_video_capture_mif = <DVFS_MIF_L0>;
				front_companion_video_capture_i2c = <0>;

				front_companion_video_whd_capture_int = <0>;
				front_companion_video_whd_capture_cam = <DVFS_CAM_L0>;
				front_companion_video_whd_capture_mif = <DVFS_MIF_L0>;
				front_companion_video_whd_capture_i2c = <0>;

				rear_preview_fhd_int = <0>;
				rear_preview_fhd_cam = <DVFS_CAM_L1>;
				rear_preview_fhd_mif = <DVFS_MIF_L6>;
				rear_preview_fhd_i2c = <0>;

				rear_preview_whd_int = <0>;
				rear_preview_whd_cam = <DVFS_CAM_L1>;
				rear_preview_whd_mif = <DVFS_MIF_L6>;
				rear_preview_whd_i2c = <0>;

				rear_preview_uhd_int = <0>;
				rear_preview_uhd_cam = <DVFS_CAM_L1>;
				rear_preview_uhd_mif = <DVFS_MIF_L3>;
				rear_preview_uhd_i2c = <0>;

				rear_capture_int = <0>;
				rear_capture_cam = <DVFS_CAM_L1>;
				rear_capture_mif = <DVFS_MIF_L2>;
				rear_capture_i2c = <0>;

				rear_video_fhd_int = <0>;
				rear_video_fhd_cam = <DVFS_CAM_L1>;
				rear_video_fhd_mif = <DVFS_MIF_L6>;
				rear_video_fhd_i2c = <0>;

				rear_video_uhd_int = <0>;
				rear_video_uhd_cam = <DVFS_CAM_L1>;
				rear_video_uhd_mif = <DVFS_MIF_L3>;
				rear_video_uhd_i2c = <0>;

				rear_video_fhd_capture_int = <0>;
				rear_video_fhd_capture_cam = <DVFS_CAM_L1>;
				rear_video_fhd_capture_mif = <DVFS_MIF_L6>;
				rear_video_fhd_capture_i2c = <0>;

				rear_video_uhd_capture_int = <0>;
				rear_video_uhd_capture_cam = <DVFS_CAM_L1>;
				rear_video_uhd_capture_mif = <DVFS_MIF_L3>;
				rear_video_uhd_capture_i2c = <0>;

				dual_preview_int = <0>;
				dual_preview_cam = <DVFS_CAM_L0>;
				dual_preview_mif = <DVFS_MIF_L0>;
				dual_preview_i2c = <0>;

				dual_capture_int = <0>;
				dual_capture_cam = <DVFS_CAM_L0>;
				dual_capture_mif = <DVFS_MIF_L0>;
				dual_capture_i2c = <0>;

				dual_video_int = <0>;
				dual_video_cam = <DVFS_CAM_L0>;
				dual_video_mif = <DVFS_MIF_L0>;
				dual_video_i2c = <0>;

				dual_video_capture_int = <0>;
				dual_video_capture_cam = <DVFS_CAM_L0>;
				dual_video_capture_mif = <DVFS_MIF_L0>;
				dual_video_capture_i2c = <0>;

				preview_high_speed_fps_int = <0>;
				preview_high_speed_fps_cam = <DVFS_CAM_L0>;
				preview_high_speed_fps_mif = <DVFS_MIF_L0>;
				preview_high_speed_fps_i2c = <0>;

				video_high_speed_60fps_int = <0>;
				video_high_speed_60fps_cam = <DVFS_CAM_L1>;
				video_high_speed_60fps_mif = <DVFS_MIF_L5>;
				video_high_speed_60fps_i2c = <0>;

				video_high_speed_120fps_int = <0>;
				video_high_speed_120fps_cam = <DVFS_CAM_L1>;
				video_high_speed_120fps_mif = <DVFS_MIF_L5>;
				video_high_speed_120fps_i2c = <0>;

				video_high_speed_240fps_int = <0>;
				video_high_speed_240fps_cam = <DVFS_CAM_L0>;
				video_high_speed_240fps_mif = <DVFS_MIF_L0>;
				video_high_speed_240fps_i2c = <0>;

				max_int = <0>;
				max_cam = <DVFS_CAM_L0>;
				max_mif = <DVFS_MIF_L0>;
				max_i2c = <0>;
			};

			table1 {
				desc = "HAL3 version";

				default_int = <0>;
				default_cam = <DVFS_CAM_L0>;
				default_mif = <DVFS_MIF_L0>;
				default_i2c = <0>;

				front_preview_int = <0>;
				front_preview_cam = <DVFS_CAM_L1>;
				front_preview_mif = <DVFS_MIF_L2>;
				front_preview_i2c = <0>;

				front_capture_int = <0>;
				front_capture_cam = <DVFS_CAM_L1>;
				front_capture_mif = <DVFS_MIF_L0>;
				front_capture_i2c = <0>;

				front_video_int = <0>;
				front_video_cam = <DVFS_CAM_L1>;
				front_video_mif = <DVFS_MIF_L2>;
				front_video_i2c = <0>;

				front_video_whd_int = <0>;
				front_video_whd_cam = <DVFS_CAM_L1>;
				front_video_whd_mif = <DVFS_MIF_L2>;
				front_video_whd_i2c = <0>;

				front_video_capture_int = <0>;
				front_video_capture_cam = <DVFS_CAM_L1>;
				front_video_capture_mif = <DVFS_MIF_L2>;
				front_video_capture_i2c = <0>;

				front_video_whd_capture_int = <0>;
				front_video_whd_capture_cam = <DVFS_CAM_L1>;
				front_video_whd_capture_mif = <DVFS_MIF_L2>;
				front_video_whd_capture_i2c = <0>;

				front_vt1_int = <0>;
				front_vt1_cam = <DVFS_CAM_L1>;
				front_vt1_mif = <DVFS_MIF_L2>;
				front_vt1_i2c = <0>;

				front_vt2_int = <0>;
				front_vt2_cam = <DVFS_CAM_L1>;
				front_vt2_mif = <DVFS_MIF_L2>;
				front_vt2_i2c = <0>;

				front_companion_preview_int = <0>;
				front_companion_preview_cam = <DVFS_CAM_L0>;
				front_companion_preview_mif = <DVFS_MIF_L0>;
				front_companion_preview_i2c = <0>;

				front_companion_capture_int = <0>;
				front_companion_capture_cam = <DVFS_CAM_L0>;
				front_companion_capture_mif = <DVFS_MIF_L0>;
				front_companion_capture_i2c = <0>;

				front_companion_video_int = <0>;
				front_companion_video_cam = <DVFS_CAM_L0>;
				front_companion_video_mif = <DVFS_MIF_L0>;
				front_companion_video_i2c = <0>;

				front_companion_video_whd_int = <0>;
				front_companion_video_whd_cam = <DVFS_CAM_L0>;
				front_companion_video_whd_mif = <DVFS_MIF_L0>;
				front_companion_video_whd_i2c = <0>;

				front_companion_video_capture_int = <0>;
				front_companion_video_capture_cam = <DVFS_CAM_L0>;
				front_companion_video_capture_mif = <DVFS_MIF_L0>;
				front_companion_video_capture_i2c = <0>;

				front_companion_video_whd_capture_int = <0>;
				front_companion_video_whd_capture_cam = <DVFS_CAM_L0>;
				front_companion_video_whd_capture_mif = <DVFS_MIF_L0>;
				front_companion_video_whd_capture_i2c = <0>;

				rear_preview_fhd_int = <0>;
				rear_preview_fhd_cam = <DVFS_CAM_L1>;
				rear_preview_fhd_mif = <DVFS_MIF_L2>;
				rear_preview_fhd_i2c = <0>;

				rear_preview_whd_int = <0>;
				rear_preview_whd_cam = <DVFS_CAM_L1>;
				rear_preview_whd_mif = <DVFS_MIF_L2>;
				rear_preview_whd_i2c = <0>;

				rear_preview_uhd_int = <0>;
				rear_preview_uhd_cam = <DVFS_CAM_L1>;
				rear_preview_uhd_mif = <DVFS_MIF_L2>;
				rear_preview_uhd_i2c = <0>;

				rear_capture_int = <0>;
				rear_capture_cam = <DVFS_CAM_L1>;
				rear_capture_mif = <DVFS_MIF_L0>;
				rear_capture_i2c = <0>;

				rear_video_fhd_int = <0>;
				rear_video_fhd_cam = <DVFS_CAM_L1>;
				rear_video_fhd_mif = <DVFS_MIF_L2>;
				rear_video_fhd_i2c = <0>;

				rear_video_uhd_int = <0>;
				rear_video_uhd_cam = <DVFS_CAM_L1>;
				rear_video_uhd_mif = <DVFS_MIF_L2>;
				rear_video_uhd_i2c = <0>;

				rear_video_fhd_capture_int = <0>;
				rear_video_fhd_capture_cam = <DVFS_CAM_L1>;
				rear_video_fhd_capture_mif = <DVFS_MIF_L2>;
				rear_video_fhd_capture_i2c = <0>;

				rear_video_uhd_capture_int = <0>;
				rear_video_uhd_capture_cam = <DVFS_CAM_L1>;
				rear_video_uhd_capture_mif = <DVFS_MIF_L2>;
				rear_video_uhd_capture_i2c = <0>;

				dual_preview_int = <0>;
				dual_preview_cam = <DVFS_CAM_L0>;
				dual_preview_mif = <DVFS_MIF_L0>;
				dual_preview_i2c = <0>;

				dual_capture_int = <0>;
				dual_capture_cam = <DVFS_CAM_L0>;
				dual_capture_mif = <DVFS_MIF_L0>;
				dual_capture_i2c = <0>;

				dual_video_int = <0>;
				dual_video_cam = <DVFS_CAM_L0>;
				dual_video_mif = <DVFS_MIF_L0>;
				dual_video_i2c = <0>;

				dual_video_capture_int = <0>;
				dual_video_capture_cam = <DVFS_CAM_L0>;
				dual_video_capture_mif = <DVFS_MIF_L0>;
				dual_video_capture_i2c = <0>;

				preview_high_speed_fps_int = <0>;
				preview_high_speed_fps_cam = <DVFS_CAM_L0>;
				preview_high_speed_fps_mif = <DVFS_MIF_L0>;
				preview_high_speed_fps_i2c = <0>;

				video_high_speed_60fps_int = <0>;
				video_high_speed_60fps_cam = <DVFS_CAM_L1>;
				video_high_speed_60fps_mif = <DVFS_MIF_L2>;
				video_high_speed_60fps_i2c = <0>;

				video_high_speed_120fps_int = <0>;
				video_high_speed_120fps_cam = <DVFS_CAM_L1>;
				video_high_speed_120fps_mif = <DVFS_MIF_L2>;
				video_high_speed_120fps_i2c = <0>;

				video_high_speed_240fps_int = <0>;
				video_high_speed_240fps_cam = <DVFS_CAM_L1>;
				video_high_speed_240fps_mif = <DVFS_MIF_L2>;
				video_high_speed_240fps_i2c = <0>;

				max_int = <0>;
				max_cam = <DVFS_CAM_L0>;
				max_mif = <DVFS_MIF_L0>;
				max_i2c = <0>;
			};
		};
	};
};
